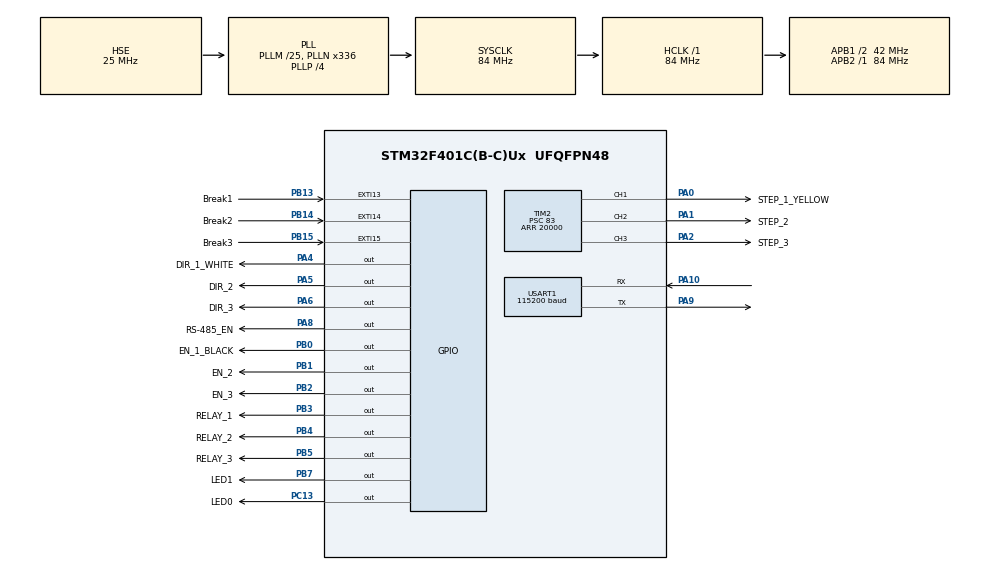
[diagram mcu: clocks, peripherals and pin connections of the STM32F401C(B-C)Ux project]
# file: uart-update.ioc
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Dma.Request0=USART1_RX
Dma.USART1_RX.0.Direction=DMA_PERIPH_TO_MEMORY
Dma.USART1_RX.0.FIFOMode=DMA_FIFOMODE_DISABLE
Dma.USART1_RX.0.Instance=DMA2_Stream2
Dma.USART1_RX.0.MemDataAlignment=DMA_MDATAALIGN_BYTE
Dma.USART1_RX.0.MemInc=DMA_MINC_ENABLE
Dma.USART1_RX.0.Mode=DMA_CIRCULAR
Dma.USART1_RX.0.PeriphDataAlignment=DMA_PDATAALIGN_BYTE
Dma.USART1_RX.0.PeriphInc=DMA_PINC_DISABLE
Dma.USART1_RX.0.Priority=DMA_PRIORITY_LOW
FREERTOS.MEMORY_ALLOCATION=0
FREERTOS.Tasks01=defaultTask,0,512,StartDefaultTask,Default,NULL,Dynamic,NULL,NULL;myServo1,-3,128,StartTask02,Default,NULL,Dynamic,NULL,NULL;myServo2,-3,128,StartTask03,Default,NULL,Dynamic,NULL,NULL;myStepper,-3,128,StartTask04,Default,NULL,Dynamic,NULL,NULL;myServo3,-3,128,StartTask05,Default,NULL,Dynamic,NULL,NULL
Mcu.Family=STM32F4
Mcu.Name=STM32F401C(B-C)Ux
Mcu.Package=UFQFPN48
NVIC.DMA2_Stream2_IRQn=true\:5\:0\:false\:false\:true\:true\:false\:true\:true
NVIC.EXTI15_10_IRQn=true\:5\:0\:false\:false\:true\:true\:true\:true\:true
NVIC.PriorityGroup=NVIC_PRIORITYGROUP_4
NVIC.TIM1_BRK_TIM9_IRQn=true\:5\:0\:false\:false\:true\:true\:true\:true\:true
NVIC.TIM1_TRG_COM_TIM11_IRQn=true\:0\:0\:true\:false\:true\:false\:false\:true\:true
NVIC.TIM1_UP_TIM10_IRQn=true\:5\:0\:false\:false\:true\:true\:true\:true\:true
NVIC.TIM2_IRQn=true\:5\:0\:false\:false\:true\:true\:true\:true\:true
NVIC.TimeBase=TIM1_TRG_COM_TIM11_IRQn
NVIC.TimeBaseIP=TIM11
PA0-WKUP.GPIO_Label=STEP_1_YELLOW
PA0-WKUP.Signal=S_TIM2_CH1_ETR
PA1.GPIO_Label=STEP_2
PA1.Signal=S_TIM2_CH2
PA10.Mode=Asynchronous
PA10.Signal=USART1_RX
PA13.Mode=Serial_Wire
PA13.Signal=SYS_JTMS-SWDIO
PA14.Mode=Serial_Wire
PA14.Signal=SYS_JTCK-SWCLK
PA2.GPIO_Label=STEP_3
PA2.Signal=S_TIM2_CH3
PA4.GPIO_Label=DIR_1_WHITE
PA4.Signal=GPIO_Output
PA5.GPIO_Label=DIR_2
PA5.Signal=GPIO_Output
PA6.GPIO_Label=DIR_3
PA6.Signal=GPIO_Output
PA8.GPIO_Label=RS-485_EN
PA8.PinState=GPIO_PIN_SET
PA8.Signal=GPIO_Output
PA9.Mode=Asynchronous
PA9.Signal=USART1_TX
PB0.GPIO_Label=EN_1_BLACK
PB0.Signal=GPIO_Output
PB1.GPIO_Label=EN_2
PB1.Signal=GPIO_Output
PB13.GPIO_Label=Break1
PB13.GPIO_ModeDefaultEXTI=GPIO_MODE_IT_RISING
PB13.GPIO_PuPd=GPIO_PULLUP
PB13.Signal=GPXTI13
PB14.GPIO_Label=Break2
PB14.GPIO_ModeDefaultEXTI=GPIO_MODE_IT_RISING
PB14.GPIO_PuPd=GPIO_PULLUP
PB14.Signal=GPXTI14
PB15.GPIO_Label=Break3
PB15.GPIO_ModeDefaultEXTI=GPIO_MODE_IT_RISING
PB15.GPIO_PuPd=GPIO_PULLUP
PB15.Signal=GPXTI15
PB2.GPIO_Label=EN_3
PB2.Signal=GPIO_Output
PB3.GPIO_Label=RELAY_1
PB3.PinState=GPIO_PIN_SET
PB3.Signal=GPIO_Output
PB4.GPIO_Label=RELAY_2
PB4.PinState=GPIO_PIN_SET
PB4.Signal=GPIO_Output
PB5.GPIO_Label=RELAY_3
PB5.PinState=GPIO_PIN_SET
PB5.Signal=GPIO_Output
PB7.GPIO_Label=LED1
PB7.Signal=GPIO_Output
PC13-ANTI_TAMP.GPIO_Label=LED0
PC13-ANTI_TAMP.GPIO_PuPd=GPIO_NOPULL
PC13-ANTI_TAMP.PinState=GPIO_PIN_RESET
PC13-ANTI_TAMP.Signal=GPIO_Output
PH0\ -\ OSC_IN.Mode=HSE-External-Oscillator
PH0\ -\ OSC_IN.Signal=RCC_OSC_IN
PH1\ -\ OSC_OUT.Mode=HSE-External-Oscillator
PH1\ -\ OSC_OUT.Signal=RCC_OSC_OUT
ProjectManager.HeapSize=0x200
ProjectManager.StackSize=0x400
ProjectManager.TargetToolchain=MDK-ARM V5.32
RCC.48MHZClocksFreq_Value=48000000
RCC.AHBFreq_Value=84000000
RCC.APB1CLKDivider=RCC_HCLK_DIV2
RCC.APB1Freq_Value=42000000
RCC.APB1TimFreq_Value=84000000
RCC.APB2Freq_Value=84000000
RCC.APB2TimFreq_Value=84000000
RCC.CortexFreq_Value=84000000
RCC.HCLKFreq_Value=84000000
RCC.HSE_VALUE=25000000
RCC.HSI_VALUE=16000000
RCC.LSE_VALUE=32768
RCC.PLLM=25
RCC.PLLN=336
RCC.PLLP=RCC_PLLP_DIV4
RCC.PLLQ=7
RCC.PLLSourceVirtual=RCC_PLLSOURCE_HSE
RCC.SYSCLKFreq_VALUE=84000000
RCC.SYSCLKSource=RCC_SYSCLKSOURCE_PLLCLK
RCC.VCOOutputFreq_Value=336000000
SH.S_TIM2_CH1_ETR.0=TIM2_CH1,PWM Generation1 CH1
SH.S_TIM2_CH2.0=TIM2_CH2,PWM Generation2 CH2
SH.S_TIM2_CH3.0=TIM2_CH3,PWM Generation3 CH3
TIM1.Period=1000
TIM1.Prescaler=83
TIM2.Channel-PWM\ Generation1\ CH1=TIM_CHANNEL_1
TIM2.Channel-PWM\ Generation2\ CH2=TIM_CHANNEL_2
TIM2.Channel-PWM\ Generation3\ CH3=TIM_CHANNEL_3
TIM2.Period=20000
TIM2.Prescaler=83
USART1.BaudRate=115200
USART1.VirtualMode=VM_ASYNC
VP_FREERTOS_VS_CMSIS_V1.Mode=CMSIS_V1
VP_SYS_VS_tim11.Mode=TIM11
VP_TIM1_VS_ClockSourceINT.Mode=Internal
VP_TIM2_VS_ClockSourceINT.Mode=Internal
board=custom

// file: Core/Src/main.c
/* USER CODE BEGIN Header */
/**
 ******************************************************************************
 * @file           : main.c
 * @brief          : Main program body
 ******************************************************************************
 * @attention
 *
 * <h2><center>&copy; Copyright (c) 2021 STMicroelectronics.
 * All rights reserved.</center></h2>
 *
 * This software component is licensed by ST under Ultimate Liberty license
 * SLA0044, the "License"; You may not use this file except in compliance with
 * the License. You may obtain a copy of the License at:
 *                             www.st.com/SLA0044
 *
 ******************************************************************************
 */
/* USER CODE END Header */
#include "main.h"
#include "cmsis_os.h"
#include "dma.h"
#include "tim.h"
#include "usart.h"
#include "gpio.h"

/* USER CODE BEGIN Includes */
#include "delay_micros.h"
#include "string.h"
#include "drv8255.h"
#include "tasks.h"
/* USER CODE END Includes */

/* USER CODE BEGIN PD */
#define FREERTOS 1
#define NORMAL ;
/* USER CODE END PD */

/* USER CODE BEGIN PV */
uint8_t USBbuffer[6] = {
    0,
};
uint32_t time = 0;
uint8_t position_sensor = 0;
uint8_t run_flag = 1;
uint32_t step_et = 0;
uint8_t direction = 0;
uint8_t end = 0;
uint8_t time_input = 0;
uint8_t irq_flag = 0;
////////////////////////////
char trans_str[80] = {
    0,
};
uint8_t TXBuffer[20] = {
    0,
};

/* Extern variables */
extern TIM_HandleTypeDef htim2;

extern drv8255_t servo_1;
extern drv8255_t step_1;
extern drv8255_t step_2;
extern enum TASK task;

/* USER CODE END PV */

void SystemClock_Config(void);
void MX_FREERTOS_Init(void);
/* USER CODE BEGIN PFP */
void setdir(void);
uint8_t swap(uint8_t byte);
void step_run(uint8_t LSB, uint8_t Byte1, uint8_t Byte2, uint8_t MSB);
void send_stop(uint32_t steps_completed);
/* USER CODE END PFP */

int main(void)
{

  /* MCU Configuration--------------------------------------------------------*/

  /* Reset of all peripherals, Initializes the Flash interface and the Systick. */
  HAL_Init();

  /* Configure the system clock */
  SystemClock_Config();

  /* Initialize all configured peripherals */
  MX_GPIO_Init();
  MX_DMA_Init();
  MX_TIM1_Init();
  MX_USART1_UART_Init();
  MX_TIM2_Init();

  /* Call init function for freertos objects (in freertos.c) */
  MX_FREERTOS_Init();

  /* Start scheduler */
  osKernelStart();

  /* We should never get here as control is now taken by the scheduler */
  /* Infinite loop */
  while (1)
  {

  }
}

void SystemClock_Config(void)
{
  RCC_OscInitTypeDef RCC_OscInitStruct = {0};
  RCC_ClkInitTypeDef RCC_ClkInitStruct = {0};

  /** Configure the main internal regulator output voltage
  */
  __HAL_RCC_PWR_CLK_ENABLE();
  __HAL_PWR_VOLTAGESCALING_CONFIG(PWR_REGULATOR_VOLTAGE_SCALE2);

  /** Initializes the RCC Oscillators according to the specified parameters
  * in the RCC_OscInitTypeDef structure.
  */
  RCC_OscInitStruct.OscillatorType = RCC_OSCILLATORTYPE_HSE;
  RCC_OscInitStruct.HSEState = RCC_HSE_ON;
  RCC_OscInitStruct.PLL.PLLState = RCC_PLL_ON;
  RCC_OscInitStruct.PLL.PLLSource = RCC_PLLSOURCE_HSE;
  RCC_OscInitStruct.PLL.PLLM = 25;
  RCC_OscInitStruct.PLL.PLLN = 336;
  RCC_OscInitStruct.PLL.PLLP = RCC_PLLP_DIV4;
  RCC_OscInitStruct.PLL.PLLQ = 7;
  if (HAL_RCC_OscConfig(&RCC_OscInitStruct) != HAL_OK)
  {
    Error_Handler();
  }

  /** Initializes the CPU, AHB and APB buses clocks
  */
  RCC_ClkInitStruct.ClockType = RCC_CLOCKTYPE_HCLK|RCC_CLOCKTYPE_SYSCLK
                              |RCC_CLOCKTYPE_PCLK1|RCC_CLOCKTYPE_PCLK2;
  RCC_ClkInitStruct.SYSCLKSource = RCC_SYSCLKSOURCE_PLLCLK;
  RCC_ClkInitStruct.AHBCLKDivider = RCC_SYSCLK_DIV1;
  RCC_ClkInitStruct.APB1CLKDivider = RCC_HCLK_DIV2;
  RCC_ClkInitStruct.APB2CLKDivider = RCC_HCLK_DIV1;

  if (HAL_RCC_ClockConfig(&RCC_ClkInitStruct, FLASH_LATENCY_2) != HAL_OK)
  {
    Error_Handler();
  }
}

/* USER CODE BEGIN 4 */
void setdir(void)
{
  if (position_sensor == 1)
  {
    if (USBbuffer[1] == 1)
    {
      GPIOB->BSRR |= (1 << 4); // set dir 1
      direction = USBbuffer[1];
    }
    else
    {
      run_flag = 5;
      memset(USBbuffer, 0, 6);
    }
  }
  else if (position_sensor == 2)
  {
    if (USBbuffer[1] == 0)
    {
      GPIOB->BSRR |= (1 << 20); // set dir 0
      direction = USBbuffer[1];
    }
    else
    {
      run_flag = 5;
      memset(USBbuffer, 0, 6);
    }
  }
  else if (position_sensor == 0)

  {
    if (USBbuffer[1] == 1)
    {
      GPIOB->BSRR |= (1 << 4); // set dir 1
      direction = USBbuffer[1];
    }
    else if (USBbuffer[1] == 0)
    {
      GPIOB->BSRR |= (1 << 20); // set dir 0
      direction = USBbuffer[1];
    }
  }
}

// step_run(USBbuffer[5], USBbuffer[4], USBbuffer[3], USBbuffer[2]);
void step_run(uint8_t LSB, uint8_t Byte1, uint8_t Byte2, uint8_t MSB)
{
  uint32_t steps = LSB | (Byte1 << 8) | (Byte2 << 16) | (MSB << 24); // cast 4 bytes to 32 bit
  uint32_t init_steps = steps;
  uint32_t step_et = 0;

  GPIOB->BSRR |= (1 << 6);  // set srven Pin
  GPIOB->BSRR |= (1 << 10); // set RELAY Pin
  HAL_Delay(200);

  while (steps != 0 && run_flag != 5 && USBbuffer[0] != 0x00)
  {
    time = USBbuffer[0];
    GPIOB->BSRR |= (1 << 5); // SET PUL+ pin
    delay_us(time * 100);
    GPIOB->BSRR |= (1 << 21); // RESET PUL+ pin
    delay_us(time * 100);
    steps--;
  }
  HAL_Delay(200);
  GPIOB->BSRR |= (1 << 26); // Reset RELAY Pin
  step_et = init_steps - steps;
  if (run_flag != 5)
    position_sensor = 0;
  delay_us(1000);
  GPIOB->BSRR |= (1 << 22); // reset srven
  send_stop(step_et);
  memset(USBbuffer, 0, 4);
  return;
}
#if FREERTOS == 0
void HAL_GPIO_EXTI_Callback(uint16_t GPIO_Pin)
{
  if (GPIO_Pin == Break1_Pin)
  {
    if (HAL_GPIO_ReadPin(RELAY_1_GPIO_Port, RELAY_1_Pin) == GPIO_PIN_SET)
    {
      if (USBbuffer[0] != 0x00)
      {
        HAL_NVIC_DisableIRQ(EXTI15_10_IRQn);
        run_flag = 5;
        position_sensor = 1;
        end = 1;
        GPIOC->BSRR |= (1 << 13); // SET LED
        time_input = HAL_GetTick();
        irq_flag = 1;
      }
    }
  }
  else if (GPIO_Pin == Break2_Pin)
  {
    if (HAL_GPIO_ReadPin(RELAY_2_GPIO_Port, RELAY_2_Pin) == GPIO_PIN_SET)
    {
      if (USBbuffer[0] != 0x00)
      {
        HAL_NVIC_DisableIRQ(EXTI15_10_IRQn);
        run_flag = 5;
        position_sensor = 2;
        end = 2;
        GPIOC->BSRR |= (1 << 29); // RESET LED
        time_input = HAL_GetTick();
        irq_flag = 1;
      }
    }
  }
  else if (GPIO_Pin == Break3_Pin)
  {
    if (HAL_GPIO_ReadPin(RELAY_2_GPIO_Port, RELAY_2_Pin) == GPIO_PIN_SET)
    {
      if (USBbuffer[0] != 0x00)
      {
        HAL_NVIC_DisableIRQ(EXTI15_10_IRQn);
        run_flag = 5;
        position_sensor = 2;
        end = 2;
        GPIOC->BSRR |= (1 << 29); // RESET LED
        time_input = HAL_GetTick();
        irq_flag = 1;
      }
    }
  }
}
#endif
uint8_t swap(uint8_t byte)
{
  return ((byte << 4) | (byte >> 4));
}

void send_stop(uint32_t steps_completed)
{
  TXBuffer[0] = position_sensor;
  TXBuffer[1] = direction; // �����������
  TXBuffer[5] = steps_completed & 0xFF;
  TXBuffer[4] = (steps_completed & (0xFF << 8)) >> 8;
  TXBuffer[3] = (steps_completed & (0xFF << 16)) >> 16;
  TXBuffer[2] = (steps_completed & (0xFF << 24)) >> 24;
  TXBuffer[6] = end;
  //  CDC_Transmit_FS(TXBuffer, 7);
}
/* USER CODE END 4 */

void HAL_TIM_PeriodElapsedCallback(TIM_HandleTypeDef *htim)
{
  if (htim->Instance == TIM11) {
    HAL_IncTick();
  }
}

void Error_Handler(void)
{
  __disable_irq();
  while (1)
  {
  }
}

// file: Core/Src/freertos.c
/* USER CODE BEGIN Header */
/**
 ******************************************************************************
 * File Name          : freertos.c
 * Description        : Code for freertos applications
 ******************************************************************************
 * @attention
 *
 * Copyright (c) 2022 STMicroelectronics.
 * All rights reserved.
 *
 * This software is licensed under terms that can be found in the LICENSE file
 * in the root directory of this software component.
 * If no LICENSE file comes with this software, it is provided AS-IS.
 *
 ******************************************************************************
 */
/* USER CODE END Header */

#include "FreeRTOS.h"
#include "task.h"
#include "main.h"
#include "cmsis_os.h"

/* USER CODE BEGIN Includes */
#include "parser.h"
#include "tasks.h"
#include "uart_lib.h"
#include "DRV8255.h"
/* USER CODE END Includes */

/* USER CODE BEGIN PD */
#define user_uart huart1
/* USER CODE END PD */

/* USER CODE BEGIN Variables */
extern parser_t parser;
extern uart_t uart;
extern TIM_HandleTypeDef htim2;

enum TASK task = {
    0,
};

enum Y_N
{
  YES,
  NO,
} YES_NO;

enum DIRECTION
{
  DIR_FORWARD,
  DIR_BACKWARD,
} DIR;

extern drv8255_t servo_1;
extern drv8255_t step_1;
extern drv8255_t step_2;

/* USER CODE END Variables */
osThreadId defaultTaskHandle;
osThreadId myServo1Handle;
osThreadId myServo2Handle;
osThreadId myStepperHandle;
osThreadId myServo3Handle;

void StartDefaultTask(void const * argument);
void StartTask02(void const * argument);
void StartTask03(void const * argument);
void StartTask04(void const * argument);
void StartTask05(void const * argument);

void MX_FREERTOS_Init(void); /* (MISRA C 2004 rule 8.1) */

void MX_FREERTOS_Init(void) {

  /* Create the thread(s) */
  /* definition and creation of defaultTask */
  osThreadDef(defaultTask, StartDefaultTask, osPriorityNormal, 0, 512);
  defaultTaskHandle = osThreadCreate(osThread(defaultTask), NULL);

  /* definition and creation of myServo1 */
  osThreadDef(myServo1, StartTask02, osPriorityIdle, 0, 128);
  myServo1Handle = osThreadCreate(osThread(myServo1), NULL);

  /* definition and creation of myServo2 */
  osThreadDef(myServo2, StartTask03, osPriorityIdle, 0, 128);
  myServo2Handle = osThreadCreate(osThread(myServo2), NULL);

  /* definition and creation of myStepper */
  osThreadDef(myStepper, StartTask04, osPriorityIdle, 0, 128);
  myStepperHandle = osThreadCreate(osThread(myStepper), NULL);

  /* definition and creation of myServo3 */
  osThreadDef(myServo3, StartTask05, osPriorityIdle, 0, 128);
  myServo3Handle = osThreadCreate(osThread(myServo3), NULL);

}

void StartDefaultTask(void const * argument)
{
  /* USER CODE BEGIN StartDefaultTask */
  clear_get_new_command(&parser);
  input_clear(parser.first_word_desc);
  task = TASK_INIT;
  parser.uart_inst->tail = 0;

  uart_send(&uart, "Ready\r\n");
  uart_send(&uart, "Enter a command and press \"Enter\"\r\n");
  uart_send_r(&uart);
  HAL_UART_Receive_DMA(&user_uart, (u8 *)uart.byte, 1);

  /* Infinite loop */
  for (;;)
  {
    if (parser.end_string_found == 1)
    {
      task = uart_parse(&parser);
      clear_get_new_command(&parser);
      input_clear(parser.first_word_desc);
    }
    if(task == TASK_ERROR)
    {
      uart_send(&uart, "Error\r\n");
      task = TASK_INIT;
    }
    osDelay(1);
  }
  /* USER CODE END StartDefaultTask */
}

void StartTask02(void const * argument)
{
  /* USER CODE BEGIN StartTask02 */

  /* Infinite loop */
  for (;;)
  {
    if (task == TASK_SET_X && servo_1.stage == 0)
    {
      uart_send(&uart, "set x pos\r\n");
      servo_1.stage = 1;
      servo_1.init_period = parser.parsed_parameters->x_arr;
      servo_1.target_position = parser.parsed_parameters->x_pos;
      drv8255_make_steps(&servo_1, servo_1.inversing, servo_1.target_position);
    }
    if (servo_1.stage == 2)
    {
      drv8255_set_dir(&servo_1, !servo_1.inversing);
      osDelay(2);
      uart_send(&uart, "set x pos completed\r\n");
      uart_send_r(&uart);
      servo_1.stage = 0;
      task = TASK_INIT;
    }
    if (task == TASK_STOP_X)
    {
      HAL_TIM_PWM_Stop(servo_1.htim, servo_1.channel);
      // uart_send(&uart, "stop x recieved\r\n");
      uart_send_r(&uart);
      servo_1.stage = 0;
      task = TASK_INIT;
    }

    osDelay(1000);
  }
  /* USER CODE END StartTask02 */
}

void StartTask03(void const * argument)
{
  /* USER CODE BEGIN StartTask03 */
  /* Infinite loop */
  for (;;)
  {
    if (task == TASK_SET_Y && step_1.stage == 0)
    {
      uart_send(&uart, "set y pos\r\n");
      step_1.stage = 1;
      step_1.target_position = parser.parsed_parameters->y_pos;
      step_1.init_period = parser.parsed_parameters->y_arr;
      drv8255_make_steps(&step_1, step_1.inversing, step_1.target_position);
    }
    else if (step_1.stage == 2)
    {
      drv8255_set_dir(&step_1, !step_1.inversing);
      osDelay(2);
      uart_send(&uart, "set y pos completed\r\n");
      uart_send_r(&uart);
      step_1.stage = 0;
      task = TASK_INIT;
    }
    if (task == TASK_STOP_Y)
    {
      uart_send(&uart, "stop y recieved\r\n");
      uart_send_r(&uart);
      HAL_TIM_PWM_Stop(step_1.htim, step_1.channel);
      step_1.stage = 0;
      task = TASK_INIT;
    }

    osDelay(1000);
  }
  /* USER CODE END StartTask03 */
}

void StartTask04(void const * argument)
{
  /* USER CODE BEGIN StartTask04 */
  /* Infinite loop */
  for (;;)
  {
    if (task == TASK_SET_Z && step_2.stage == 0)
    {
      uart_send(&uart, "set z pos\r\n");
      step_2.stage = 1;
      step_2.target_position = parser.parsed_parameters->z_pos;
      step_2.init_period = parser.parsed_parameters->z_arr;
      drv8255_make_steps_z(&step_2, step_2.inversing, step_2.target_position);
    }
    if (step_2.stage == 2 && task != TASK_STOP_Z)
    {
      uart_send(&uart, "set z pos completed\r\n");
      uart_send_r(&uart);
      step_2.stage = 0;
      task = TASK_INIT;
    }

    if (task == TASK_STOP_Z)
    {
      task = TASK_INIT;
      uart_send(&uart, "stop z recieved\r\n");
      uart_send_r(&uart);
      HAL_TIM_PWM_Stop_IT(step_2.htim, step_2.channel);
      step_2.stage = 0;
    }
    osDelay(1000);
  }
  /* USER CODE END StartTask04 */
}

void StartTask05(void const * argument)
{
  /* USER CODE BEGIN StartTask05 */
  /* Infinite loop */
  for (;;)
  {
    GPIOC->ODR ^= (1 << 13);

    if (task == TASK_SET_RELAY_1)
    {
      if (parser.parsed_parameters->relay_1_state == !RELAY_ON)
      {
        uart_send(&uart, "relay 1 on\r\n");
        uart_send_r(&uart);
      }
      else if (parser.parsed_parameters->relay_1_state == !RELAY_OFF)
      {
        uart_send(&uart, "relay 1 off\r\n");
        uart_send_r(&uart);
      }
      HAL_GPIO_WritePin(RELAY_1_GPIO_Port, RELAY_1_Pin, !parser.parsed_parameters->relay_1_state);
      task = TASK_INIT;
    }
    else if (task == TASK_SET_RELAY_2)
    {
      if (parser.parsed_parameters->relay_2_state == !RELAY_ON)
      {
        uart_send(&uart, "relay 2 on\r\n");
        uart_send_r(&uart);
      }
      else if (parser.parsed_parameters->relay_2_state == !RELAY_OFF)
      {
        uart_send(&uart, "relay 2 off\r\n");
        uart_send_r(&uart);
      }
      HAL_GPIO_WritePin(RELAY_2_GPIO_Port, RELAY_2_Pin, !parser.parsed_parameters->relay_2_state);
      task = TASK_INIT;
    }
    else if (task == TASK_SET_RELAY_3)
    {
      if (parser.parsed_parameters->relay_3_state == !RELAY_ON)
      {
        uart_send(&uart, "relay 3 on\r\n");
        uart_send_r(&uart);
      }
      else if (parser.parsed_parameters->relay_3_state == !RELAY_OFF)
      {
        uart_send(&uart, "relay 3 off\r\n");
        uart_send_r(&uart);
      }
      HAL_GPIO_WritePin(RELAY_3_GPIO_Port, RELAY_3_Pin, !parser.parsed_parameters->relay_3_state);
      task = TASK_INIT;
    }

    if(task == TASK_UC_RESET)
    {
      NVIC_SystemReset();
    }
    osDelay(1);
  }
  /* USER CODE END StartTask05 */
}

/* USER CODE BEGIN Application */

void HAL_UART_RxCpltCallback(UART_HandleTypeDef *huart)
{
  if (huart->Instance == USART1)
  {
    GPIOC->ODR ^= (1 << 13);
    parser_uart_callback(parser.uart_inst->uart, &parser);
  }
}

void HAL_GPIO_EXTI_Callback(uint16_t GPIO_Pin)
{
  if (GPIO_Pin == Break1_Pin)
  {
    uart_send(&uart, "Break1_Pin = 0 \r\n");  //13
    task = TASK_STOP_X;
    HAL_TIM_PWM_Stop_IT(servo_1.htim, servo_1.channel);
  }
  else if (GPIO_Pin == Break2_Pin)            //14
  {
    uart_send(&uart, "Break2_Pin = 0 \r\n");
    task = TASK_STOP_Y;
    HAL_TIM_PWM_Stop_IT(step_1.htim, step_1.channel);
  }
  else if (GPIO_Pin == Break3_Pin)
  {
    uart_send(&uart, "Break3_Pin = 0 \r\n");  //15
    task = TASK_STOP_Y;
    HAL_TIM_PWM_Stop_IT(step_1.htim, step_1.channel);
  }
}

void HAL_TIM_PWM_PulseFinishedCallback(TIM_HandleTypeDef *htim)
{
  if (htim->Instance == TIM2)
  {
    if (servo_1.stage == 1)
    {
      if (drv8255_pulse_cmplt_callback(&servo_1) == COMPLETE)
      {
        servo_1.stage = 2;
      }
    }
    if (step_1.stage == 1)
    {
      if (drv8255_pulse_cmplt_callback(&step_1) == COMPLETE)
      {
        step_1.stage = 2;
      }
    }
    if (step_2.stage == 1)
    {
      if (drv8255_pulse_cmplt_callback(&step_2) == COMPLETE)
      {
          step_2.stage = 2;
      }
    }
  }
}
/* USER CODE END Application */
